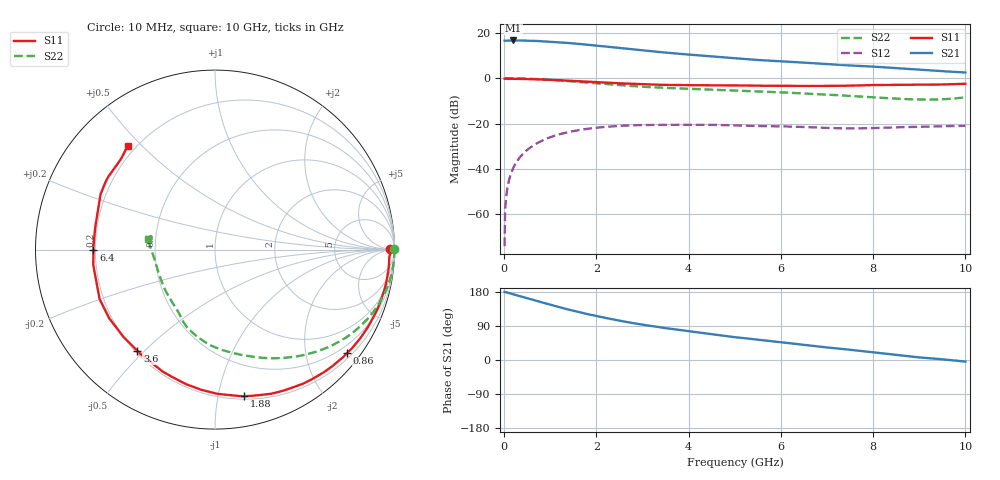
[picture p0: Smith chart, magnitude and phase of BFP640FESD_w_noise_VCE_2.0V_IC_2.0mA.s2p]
! Infineon Technologies  Discrete & RF Semiconductors
! BFP640FESD
! VCE =  2.0 V,  IC =  2.0 mA
! Common Emitter S-Parameters:  Jan 2016
# GHz  S  MA  R  50
!  f  S11  S21  S12  S22
! GHz  MAG  ANG  MAG  ANG  MAG  ANG  MAG  ANG
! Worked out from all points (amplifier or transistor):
!   233 points, 10 MHz to 10 GHz, reference 50 ohm
!   highest |S21| = 16.6 dB at 200 MHz (marker M1)
!   |S21| within 3 dB of that: start of sweep to 2.357 GHz
!   unconditionally stable (mu >= 1): 6.636 GHz to end of sweep
!   at 200 MHz: K = -0.01, MSG = 28.0 dB, |S12| = -39.4 dB
!   at 1.74 GHz: K = 0.14, MSG = 18.7 dB, |S12| = -22.5 dB
!   at 10 GHz: K = 1.47, MAG = 7.7 dB, |S12| = -20.9 dB
!   lowest NFmin = 0.44 dB at 450 MHz
!   S11 on the Smith chart (normalised r, x): 10 MHz: 83, +19; 860 MHz: 0.31, -2.86; 1.88 GHz: 0.22, -1.19; 3.6 GHz: 0.21, -0.48; 6.4 GHz: 0.19, -0.00; 10 GHz: 0.17, +0.46
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0.01  0.9773 0.3  6.741 179.6  0.0002 -68.4  0.9975 0.1
0.02  0.9795 -0.8  6.705 179.5  0.0012 89.5  0.9997 -0.6
0.04  0.9747 -1.7  6.715 178.6  0.0022 87.8  0.9995 -1.1
0.105  0.9731 -4.7  6.763 176.7  0.0057 87.3  0.9989 -2.8
0.2  0.9718 -9.0  6.799 173.5  0.0107 84.8  0.9965 -5.4
0.5  0.9605 -22.4  6.742 163.0  0.0264 76.7  0.9794 -13.5
0.86  0.935 -38.2  6.503 150.6  0.0438 66.8  0.9416 -22.8
1.2  0.9036 -52.7  6.193 139.3  0.0584 58.1  0.8948 -31.4
1.4  0.8814 -60.9  5.964 132.9  0.0655 53.0  0.8634 -36.2
1.68  0.852 -71.6  5.632 124.7  0.074 46.5  0.8199 -42.5
1.88  0.8326 -78.8  5.385 119.2  0.0789 42.5  0.79 -46.8
2.22  0.8008 -89.9  4.971 110.5  0.0853 36.0  0.7423 -53.6
2.6  0.7671 -102.0  4.545 101.5  0.0905 29.5  0.6932 -60.9
3  0.7393 -113.2  4.116 93.1  0.0933 23.6  0.6509 -67.6
3.4  0.7168 -122.9  3.754 86.0  0.094 19.1  0.62 -73.0
3.6  0.7106 -127.5  3.599 82.5  0.0943 17.2  0.6072 -75.5
4.5  0.7028 -147.0  3.034 67.9  0.0942 10.1  0.5606 -86.0
5.1  0.6958 -158.3  2.712 59.0  0.0913 6.3  0.5315 -93.1
6.4  0.6773 -179.9  2.238 41.3  0.0851 2.7  0.4682 -107.9
6.8  0.6763 173.1  2.113 35.9  0.0821 2.8  0.4475 -112.1
8.4  0.7172 148.2  1.702 14.8  0.0825 10.1  0.3601 -139.0
10  0.7564 130.0  1.338 -4.3  0.0898 11.7  0.3802 171.1
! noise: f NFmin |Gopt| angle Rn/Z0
0.45  0.44  0.76  9  0.24
2.4  0.82  0.46  59  0.2
5.5  1.23  0.53  146  0.09
10  2.5  0.6  -127  0.33
